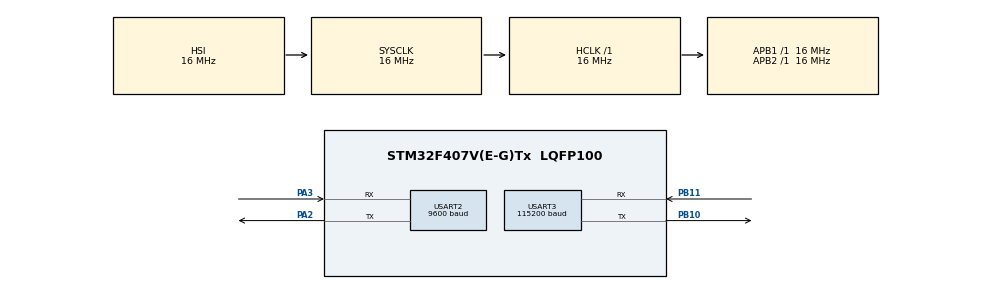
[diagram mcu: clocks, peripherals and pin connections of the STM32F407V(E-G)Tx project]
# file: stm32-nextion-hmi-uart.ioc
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Mcu.Family=STM32F4
Mcu.Name=STM32F407V(E-G)Tx
Mcu.Package=LQFP100
NVIC.PriorityGroup=NVIC_PRIORITYGROUP_4
NVIC.USART2_IRQn=true\:0\:0\:false\:false\:true\:true\:true\:true
PA2.Mode=Asynchronous
PA2.Signal=USART2_TX
PA3.Mode=Asynchronous
PA3.Signal=USART2_RX
PB10.Mode=Asynchronous
PB10.Signal=USART3_TX
PB11.Mode=Asynchronous
PB11.Signal=USART3_RX
ProjectManager.HeapSize=0x200
ProjectManager.StackSize=0x400
ProjectManager.TargetToolchain=STM32CubeIDE
RCC.AHBFreq_Value=16000000
RCC.APB1Freq_Value=16000000
RCC.APB2Freq_Value=16000000
RCC.CortexFreq_Value=16000000
RCC.HSE_VALUE=25000000
RCC.HSI_VALUE=16000000
RCC.LSE_VALUE=32768
RCC.SYSCLKFreq_VALUE=16000000
RCC.VCOOutputFreq_Value=192000000
USART2.BaudRate=9600
USART2.VirtualMode=VM_ASYNC
USART3.BaudRate=115200
USART3.VirtualMode=VM_ASYNC
board=custom

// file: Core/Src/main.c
/* USER CODE BEGIN Header */
/**
  ******************************************************************************
  * @file           : main.c
  * @brief          : Main program body
  * @author         : M. Eyub Can, TECH-OHM (https://tech-ohm.com)
  ******************************************************************************
  * @attention
  *
  * Copyright (c) 2026 STMicroelectronics.
  * All rights reserved.
  *
  * This software is licensed under terms that can be found in the LICENSE file
  * in the root directory of this software component.
  * If no LICENSE file comes with this software, it is provided AS-IS.
  *
  ******************************************************************************
  */
/* USER CODE END Header */
#include "main.h"

/* USER CODE BEGIN Includes */
#include <string.h>
#include <stdio.h>
#include <stdlib.h>
/* USER CODE END Includes */

/* USER CODE BEGIN PTD */
typedef struct { int sic; int kuv; int hiz; } preset_t;  /* one set of temperature/force/speed */
/* USER CODE END PTD */

/* USER CODE BEGIN PD */
/* Value ranges */
#define SIC_MIN 50
#define SIC_MAX 250
#define KUV_MIN 0
#define KUV_MAX 200
#define HIZ_MIN 7
#define HIZ_MAX 15
/* Clock and ambient simulation */
#define CLK_STEP_MS   2000   /* change every this many ms */
#define CLK_MAX_TICKS 5      /* stop after this many changes */
/* USER CODE END PD */

UART_HandleTypeDef huart2;
UART_HandleTypeDef huart3;

/* USER CODE BEGIN PV */
/* --- Nextion RX (collected byte by byte in the USART2 interrupt) --- */
uint8_t  rx_byte;            /* single-byte target for HAL_UART_Receive_IT */
uint8_t  rx_buf[64];         /* message payload (without the FF bytes) */
volatile uint16_t rx_len = 0;
uint8_t  ff_count = 0;       /* count of consecutive 0xFF (3 -> message complete) */
volatile uint8_t  msg_ready = 0;
char     msg[64];            /* complete message handed to the main loop */

/* --- Keypad and keyboard state --- */
int      va_mode = 0;        /* active mode: 0/1/2 home · 10-12 medical · 20-22 tyvek */
char     kp_buf[16];         /* digits or letters entered so far */
uint8_t  kp_len = 0;

/* --- Values --- */
preset_t pr_med = {0, 0, 0}; /* medical preset (kept) */
preset_t pr_tyv = {0, 0, 0}; /* tyvek preset (kept) */
int  act_sic = 0, act_kuv = 0, act_hiz = 0;  /* ACTIVE values shown on home */
int  va_paper = 2;           /* 0 medical · 1 tyvek · 2 none */

/* --- Bag counters --- */
int  cnt_med = 0, cnt_tyv = 0;

/* --- Current page, clock and ambient --- */
int  cur_page = 0;           /* 1 home · 2 keypad · 4 settings · 5 qr · 6 report */
int  clk_h = 14, clk_m = 32; /* start time */
int  amb = 30;               /* ambient temperature */
int  clk_ticks = 0;          /* how many times it has changed */
uint32_t clk_last = 0;
/* USER CODE END PV */

void SystemClock_Config(void);
static void MX_GPIO_Init(void);
static void MX_USART3_UART_Init(void);
static void MX_USART2_UART_Init(void);
/* USER CODE BEGIN PFP */
void nx_send(const char *cmd);      /* STM -> Nextion (adds 0xFF 0xFF 0xFF) */
void dbg(const char *s);            /* STM -> PuTTY (USART3) log line */
void nx_handle(const char *cmd);    /* parse an incoming command */
void clock_tick(void);              /* clock and ambient simulation */
/* USER CODE END PFP */

int main(void)
{

  /* MCU Configuration--------------------------------------------------------*/

  /* Reset of all peripherals, Initializes the Flash interface and the Systick. */

	HAL_Init();

  /* Configure the system clock */
  SystemClock_Config();

  /* Initialize all configured peripherals */
  MX_GPIO_Init();
  MX_USART3_UART_Init();
  MX_USART2_UART_Init();
  /* USER CODE BEGIN 2 */
  HAL_UART_Receive_IT(&huart2, &rx_byte, 1);   /* start Nextion RX */
  HAL_Delay(200);
  nx_send("bkcmd=0");                           /* no ack/error bytes from Nextion, keeps RX clean */
  dbg("=== Nextion UART test started ===");
  dbg("Nextion USART2@9600 | Debug USART3@115200");
  clk_last = HAL_GetTick();
  /* USER CODE END 2 */

  /* Infinite loop */
  while (1)
  {

    /* USER CODE BEGIN 3 */
    if (msg_ready) {
      char local[64];
      strcpy(local, msg);      /* copy the message that came from the interrupt */
      msg_ready = 0;           /* free the buffer */
      nx_handle(local);
    }
    clock_tick();              /* advance the clock and ambient simulation */
  }
  /* USER CODE END 3 */
}

void SystemClock_Config(void)
{
  RCC_OscInitTypeDef RCC_OscInitStruct = {0};
  RCC_ClkInitTypeDef RCC_ClkInitStruct = {0};

  /** Configure the main internal regulator output voltage
  */
  __HAL_RCC_PWR_CLK_ENABLE();
  __HAL_PWR_VOLTAGESCALING_CONFIG(PWR_REGULATOR_VOLTAGE_SCALE1);

  /** Initializes the RCC Oscillators according to the specified parameters
  * in the RCC_OscInitTypeDef structure.
  */
  RCC_OscInitStruct.OscillatorType = RCC_OSCILLATORTYPE_HSI;
  RCC_OscInitStruct.HSIState = RCC_HSI_ON;
  RCC_OscInitStruct.HSICalibrationValue = RCC_HSICALIBRATION_DEFAULT;
  RCC_OscInitStruct.PLL.PLLState = RCC_PLL_NONE;
  if (HAL_RCC_OscConfig(&RCC_OscInitStruct) != HAL_OK)
  {
    Error_Handler();
  }

  /** Initializes the CPU, AHB and APB buses clocks
  */
  RCC_ClkInitStruct.ClockType = RCC_CLOCKTYPE_HCLK|RCC_CLOCKTYPE_SYSCLK
                              |RCC_CLOCKTYPE_PCLK1|RCC_CLOCKTYPE_PCLK2;
  RCC_ClkInitStruct.SYSCLKSource = RCC_SYSCLKSOURCE_HSI;
  RCC_ClkInitStruct.AHBCLKDivider = RCC_SYSCLK_DIV1;
  RCC_ClkInitStruct.APB1CLKDivider = RCC_HCLK_DIV1;
  RCC_ClkInitStruct.APB2CLKDivider = RCC_HCLK_DIV1;

  if (HAL_RCC_ClockConfig(&RCC_ClkInitStruct, FLASH_LATENCY_0) != HAL_OK)
  {
    Error_Handler();
  }
}

static void MX_USART2_UART_Init(void)
{

  huart2.Instance = USART2;
  huart2.Init.BaudRate = 9600;
  huart2.Init.WordLength = UART_WORDLENGTH_8B;
  huart2.Init.StopBits = UART_STOPBITS_1;
  huart2.Init.Parity = UART_PARITY_NONE;
  huart2.Init.Mode = UART_MODE_TX_RX;
  huart2.Init.HwFlowCtl = UART_HWCONTROL_NONE;
  huart2.Init.OverSampling = UART_OVERSAMPLING_16;
  if (HAL_UART_Init(&huart2) != HAL_OK)
  {
    Error_Handler();
  }

}

static void MX_USART3_UART_Init(void)
{

  huart3.Instance = USART3;
  huart3.Init.BaudRate = 115200;
  huart3.Init.WordLength = UART_WORDLENGTH_8B;
  huart3.Init.StopBits = UART_STOPBITS_1;
  huart3.Init.Parity = UART_PARITY_NONE;
  huart3.Init.Mode = UART_MODE_TX_RX;
  huart3.Init.HwFlowCtl = UART_HWCONTROL_NONE;
  huart3.Init.OverSampling = UART_OVERSAMPLING_16;
  if (HAL_UART_Init(&huart3) != HAL_OK)
  {
    Error_Handler();
  }

}

static void MX_GPIO_Init(void)
{

  /* GPIO Ports Clock Enable */
  __HAL_RCC_GPIOA_CLK_ENABLE();
  __HAL_RCC_GPIOB_CLK_ENABLE();

}

/* USER CODE BEGIN 4 */

/* STM -> Nextion: command plus the required 0xFF 0xFF 0xFF terminator */
void nx_send(const char *cmd)
{
  uint8_t end[3] = {0xFF, 0xFF, 0xFF};
  HAL_UART_Transmit(&huart2, (uint8_t *)cmd, strlen(cmd), 100);
  HAL_UART_Transmit(&huart2, end, 3, 100);
}

/* STM -> PuTTY (USART3): debug line plus CRLF */
void dbg(const char *s)
{
  HAL_UART_Transmit(&huart3, (uint8_t *)s, strlen(s), 100);
  HAL_UART_Transmit(&huart3, (uint8_t *)"\r\n", 2, 100);
}

/* write date and time to the current page (t_dt exists on pages 1, 4, 5, 6) */
void push_datetime(void)
{
  if (cur_page==1 || cur_page==4 || cur_page==5 || cur_page==6) {
    char c[48];
    snprintf(c, sizeof(c), "t_dt.txt=\"03.07.2026 - %02d:%02d\"", clk_h, clk_m);
    nx_send(c);
  }
}

/* ambient temperature (t_amb exists only on home) */
void push_ambient(void)
{
  if (cur_page==1) {
    char c[32];
    snprintf(c, sizeof(c), "t_amb.txt=\"%d\xC2\xB0" "C\"", amb);   /* utf-8 °C */
    nx_send(c);
  }
}

/* write the ACTIVE values to home (n0/n1/n_spd) */
void home_push_values(void)
{
  char c[32];
  snprintf(c, sizeof(c), "n0.val=%d",   act_sic); nx_send(c);
  snprintf(c, sizeof(c), "n1.val=%d",   act_kuv); nx_send(c);
  snprintf(c, sizeof(c), "n_spd.val=%d", act_hiz); nx_send(c);
}

/* write the bag counters to home (n_pos = selected material, n_tot = total) */
void home_push_counts(void)
{
  char c[32];
  int cur = (va_paper==0) ? cnt_med : (va_paper==1) ? cnt_tyv : 0;
  snprintf(c, sizeof(c), "n_pos.val=%d", cur);               nx_send(c);
  snprintf(c, sizeof(c), "n_tot.val=%d", cnt_med + cnt_tyv); nx_send(c);
}

/* refresh everything when home opens */
void on_home_open(void)
{
  push_datetime();
  push_ambient();
  home_push_values();
  home_push_counts();
}

/* write the preset values when settings opens */
void on_settings_open(void)
{
  char c[32];
  push_datetime();
  snprintf(c, sizeof(c), "t_m_temp.txt=\"%d\"",  pr_med.sic); nx_send(c);
  snprintf(c, sizeof(c), "t_m_force.txt=\"%d\"", pr_med.kuv); nx_send(c);
  snprintf(c, sizeof(c), "t_m_spd.txt=\"%d\"",   pr_med.hiz); nx_send(c);
  snprintf(c, sizeof(c), "t_t_temp.txt=\"%d\"",  pr_tyv.sic); nx_send(c);
  snprintf(c, sizeof(c), "t_t_force.txt=\"%d\"", pr_tyv.kuv); nx_send(c);
  snprintf(c, sizeof(c), "t_t_spd.txt=\"%d\"",   pr_tyv.hiz); nx_send(c);
}

/* is this a numeric field mode? (0/1/2 home · 10-12 medical · 20-22 tyvek) */
static int is_field_mode(int mode)
{
  return (mode % 10 <= 2) && (mode < 3 || mode >= 10);
}

/* write title and range when the keypad opens, depending on the mode */
void keypad_open(int mode)
{
  char c[64];
  if (is_field_mode(mode)) {                      /* numeric: temperature/force/speed */
    int f = mode % 10;
    const char *fld = (f==0) ? "Temperature" : (f==1) ? "Force"  : "Belt speed";
    const char *rng = (f==0) ? "50 - 250" : (f==1) ? "0 - 200" : "7 - 15";
    const char *pfx = (mode>=10 && mode<20) ? "Medical " : (mode>=20) ? "Tyvek " : "";
    snprintf(c, sizeof(c), "t_title.txt=\"%s%s\"", pfx, fld); nx_send(c);
    nx_send("t_val.txt=\"\"");
    nx_send("t_range.pco=44210");                 /* gray (normal) */
    snprintf(c, sizeof(c), "t_range.txt=\"Range %s\"", rng); nx_send(c);
    return;
  }
  /* non-numeric modes (4 password · 5 expiry · 6 date · 7 time), not handled yet */
  const char *title, *hint;
  switch (mode) {
    case 4:  title = "Password";        hint = "4-digit password";      break;
    case 5:  title = "Expiry"; hint = "+3mo / +6mo / off"; break;
    case 6:  title = "Date";        hint = "DD.MM.YYYY";          break;
    case 7:  title = "Time";         hint = "SS:DD";               break;
    default: title = "Input";        hint = "";                    break;
  }
  snprintf(c, sizeof(c), "t_title.txt=\"%s\"", title); nx_send(c);
  nx_send("t_val.txt=\"\"");
  nx_send("t_range.pco=44210");
  snprintf(c, sizeof(c), "t_range.txt=\"%s\"", hint); nx_send(c);
}

/* is the value within the range of this field type? */
int in_range(int mode, int v)
{
  int f = mode % 10;
  if (f==0) return (v>=SIC_MIN && v<=SIC_MAX);
  if (f==1) return (v>=KUV_MIN && v<=KUV_MAX);
  return (v>=HIZ_MIN && v<=HIZ_MAX);
}

/* keypad confirm (K:E): validate, then write to the target (active or preset) */
void keypad_confirm(void)
{
  int v = atoi(kp_buf);

  if (is_field_mode(va_mode)) {                  /* numeric field: temperature/force/speed */
    int f = va_mode % 10;
    if (!in_range(va_mode, v)) {                 /* out of range -> reject */
      const char *rng = (f==0) ? "50-250" : (f==1) ? "0-200" : "7-15";
      char c[64];
      nx_send("t_range.pco=63488");              /* red */
      snprintf(c, sizeof(c), "t_range.txt=\"Invalid, use %s\"", rng);
      nx_send(c);
      dbg("KEYPAD: out-of-range value rejected");
      kp_len = 0; kp_buf[0] = '\0';
      return;
    }
    if (va_mode <= 2) {                          /* HOME active value */
      if (f==0) act_sic=v; else if (f==1) act_kuv=v; else act_hiz=v;
      home_push_values();
      dbg("KEYPAD: active value updated");
    } else if (va_mode < 20) {                   /* MEDICAL preset (10-12) */
      if (f==0) pr_med.sic=v; else if (f==1) pr_med.kuv=v; else pr_med.hiz=v;
      if (va_paper==0) { if (f==0) act_sic=v; else if (f==1) act_kuv=v; else act_hiz=v; }
      dbg("SETTINGS: medical preset saved");
    } else {                                     /* TYVEK preset (20-22) */
      if (f==0) pr_tyv.sic=v; else if (f==1) pr_tyv.kuv=v; else pr_tyv.hiz=v;
      if (va_paper==1) { if (f==0) act_sic=v; else if (f==1) act_kuv=v; else act_hiz=v; }
      dbg("SETTINGS: tyvek preset saved");
    }
    kp_len = 0; kp_buf[0] = '\0';
    return;
  }

  /* non-numeric modes (4 password · 6 date · 7 time), next stage */
  {
    char c[64];
    snprintf(c, sizeof(c), "KEYPAD mode %d confirm: '%s' (not handled yet)", va_mode, kp_buf);
    dbg(c);
  }
  kp_len = 0; kp_buf[0] = '\0';
}

/* keypad keys (K:x) */
void handle_keypad_key(char k)
{
  char c[48];
  if (k>='0' && k<='9') {
    if (kp_len < sizeof(kp_buf)-1) { kp_buf[kp_len++]=k; kp_buf[kp_len]='\0'; }
    snprintf(c, sizeof(c), "t_val.txt=\"%s\"", kp_buf); nx_send(c);
  } else if (k=='B') {                           /* backspace */
    if (kp_len>0) { kp_len--; kp_buf[kp_len]='\0'; }
    snprintf(c, sizeof(c), "t_val.txt=\"%s\"", kp_buf); nx_send(c);
  } else if (k=='C') {                           /* cancel */
    kp_len=0; kp_buf[0]='\0';
  } else if (k=='E') {                           /* confirm */
    keypad_confirm();
  }
}

/* select or deselect a material (MTYP). Only one can be selected, STM keeps va_paper in sync. */
void paper_select(int paper)                     /* paper: 0 medical · 1 tyvek */
{
  if (va_paper == paper) {                        /* already selected -> deselect, values stay as they are */
    va_paper = 2;
    nx_send("va_paper=2");
    nx_send("bt_med.val=0");
    nx_send("bt_tyv.val=0");
    dbg(paper==0 ? "MEDICAL DESELECTED (values kept)"
                 : "TYVEK DESELECTED (values kept)");
  } else {                                        /* select -> load the preset into the active values */
    preset_t *p = (paper==0) ? &pr_med : &pr_tyv;
    va_paper = paper;
    nx_send(paper==0 ? "va_paper=0"   : "va_paper=1");
    nx_send(paper==0 ? "bt_med.val=1" : "bt_tyv.val=1");
    nx_send(paper==0 ? "bt_tyv.val=0" : "bt_med.val=0");
    act_sic = p->sic; act_kuv = p->kuv; act_hiz = p->hiz;
    home_push_values();
    home_push_counts();
    dbg(paper==0 ? "MEDICAL SELECTED (preset -> active)"
                 : "TYVEK SELECTED (preset -> active)");
  }
}

/* clock and ambient simulation: once every CLK_STEP_MS, CLK_MAX_TICKS times */
void clock_tick(void)
{
  uint32_t now = HAL_GetTick();
  if (clk_ticks >= CLK_MAX_TICKS) return;
  if (now - clk_last < CLK_STEP_MS) return;
  clk_last = now;
  clk_ticks++;
  clk_m++;
  if (clk_m >= 60) { clk_m = 0; clk_h = (clk_h + 1) % 24; }
  amb++;
  push_datetime();
  push_ambient();
}

/* ================== INCOMING COMMAND PARSER ==================
   Every command is logged to PuTTY first, then handled. */
void nx_handle(const char *cmd)
{
  char line[80];
  snprintf(line, sizeof(line), "RX: %s", cmd);
  dbg(line);

  /* --- Page opens --- */
  if (strcmp(cmd, "HOME") == 0)          { cur_page = 1; on_home_open(); }
  else if (strcmp(cmd, "SETOPEN") == 0)  { cur_page = 4; on_settings_open(); }
  else if (strcmp(cmd, "REPOPEN") == 0)  { cur_page = 6; push_datetime(); }
  else if (strncmp(cmd, "KPOPEN:", 7) == 0) {
    cur_page = 2;
    va_mode = atoi(cmd + 7);
    kp_len = 0; kp_buf[0] = '\0';
    keypad_open(va_mode);
  }
  /* --- Belt (bag counter goes up on BF:1) --- */
  else if (strcmp(cmd, "BF:1") == 0) {
    dbg("BELT FORWARD PRESSED");
    if      (va_paper==0) { cnt_med++; home_push_counts(); dbg("BAG +1 (medical)"); }
    else if (va_paper==1) { cnt_tyv++; home_push_counts(); dbg("BAG +1 (tyvek)"); }
    else                  { dbg("BAG NOT COUNTED (no material selected)"); }
  }
  else if (strcmp(cmd, "BF:0") == 0)     { dbg("BELT FORWARD RELEASED"); }
  else if (strcmp(cmd, "BB:1") == 0)     { dbg("BELT REVERSE PRESSED"); }
  else if (strcmp(cmd, "BB:0") == 0)     { dbg("BELT REVERSE RELEASED"); }
  /* --- Material selection --- */
  else if (strcmp(cmd, "MTYP:0") == 0)   { paper_select(0); }
  else if (strcmp(cmd, "MTYP:1") == 0)   { paper_select(1); }
  /* --- Keypad keys --- */
  else if (strncmp(cmd, "K:", 2) == 0)   { handle_keypad_key(cmd[2]); }
  /* --- SKT (expiry date) --- */
  else if (strcmp(cmd, "SKT:3") == 0)    { dbg("EXPIRY: +3 MONTHS"); }
  else if (strcmp(cmd, "SKT:6") == 0)    { dbg("EXPIRY: +6 MONTHS"); }
  else if (strcmp(cmd, "SKT:0") == 0)    { dbg("EXPIRY: OFF"); }
  /* --- Language and toggles --- */
  else if (strcmp(cmd, "LANG:0") == 0)   { dbg("LANGUAGE: TR"); }
  else if (strcmp(cmd, "LANG:1") == 0)   { dbg("LANGUAGE: EN"); }
  else if (strcmp(cmd, "PRN:1") == 0)    { dbg("PRINTER: ON"); }
  else if (strcmp(cmd, "PRN:0") == 0)    { dbg("PRINTER: OFF"); }
  else if (strcmp(cmd, "FNT:1") == 0)    { dbg("FONT: ON"); }
  else if (strcmp(cmd, "FNT:0") == 0)    { dbg("FONT: OFF"); }
  /* --- Keyboard (operator/lot): secondary, only buffered and logged --- */
  else if (strncmp(cmd, "KB:", 3) == 0) {
    if (kp_len < sizeof(kp_buf)-1) { kp_buf[kp_len++]=cmd[3]; kp_buf[kp_len]='\0'; }
    char c[40]; snprintf(c, sizeof(c), "t_inp.txt=\"%s\"", kp_buf); nx_send(c);
  }
  else if (strcmp(cmd, "KBDEL") == 0) {
    if (kp_len>0) { kp_len--; kp_buf[kp_len]='\0'; }
    char c[40]; snprintf(c, sizeof(c), "t_inp.txt=\"%s\"", kp_buf); nx_send(c);
  }
  else if (strcmp(cmd, "KBCLR") == 0)    { kp_len=0; kp_buf[0]='\0'; nx_send("t_inp.txt=\"\""); }
  else if (strcmp(cmd, "KBOK") == 0) {
    char c[64]; snprintf(c, sizeof(c), "KEYBOARD CONFIRM: %s", kp_buf); dbg(c);
    kp_len=0; kp_buf[0]='\0';
  }
  /* unknown commands were already logged above as "RX: ..." */
}

/* USART2 RX interrupt: called for every byte, message is complete after three 0xFF */
void HAL_UART_RxCpltCallback(UART_HandleTypeDef *huart)
{
  if (huart->Instance == USART2) {
    if (rx_byte == 0xFF) {
      ff_count++;
      if (ff_count >= 3) {              /* message complete */
        rx_buf[rx_len] = '\0';
        if (!msg_ready && rx_len > 0) { /* do not overwrite a message that is still waiting */
          strcpy(msg, (char *)rx_buf);
          msg_ready = 1;
        }
        rx_len = 0;
        ff_count = 0;
      }
    } else {
      ff_count = 0;
      if (rx_len < sizeof(rx_buf) - 1) {
        rx_buf[rx_len++] = rx_byte;
      } else {
        rx_len = 0;                     /* overflow guard */
      }
    }
    HAL_UART_Receive_IT(&huart2, &rx_byte, 1);  /* re-arm for the next byte */
  }
}

/* USER CODE END 4 */

void Error_Handler(void)
{
  __disable_irq();
  while (1)
  {
  }
}
